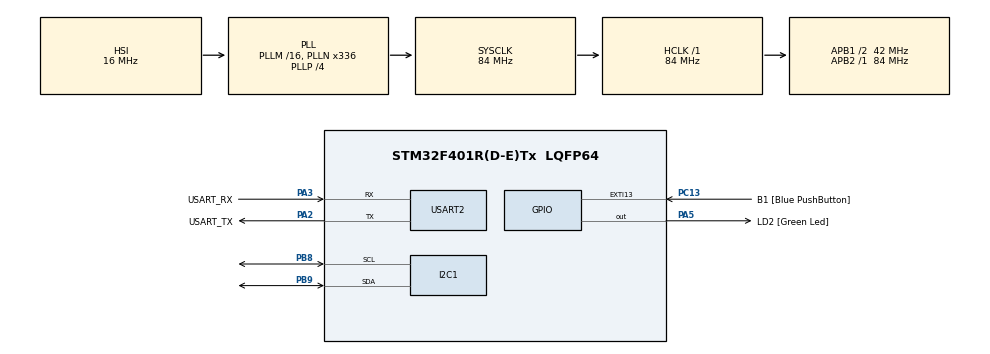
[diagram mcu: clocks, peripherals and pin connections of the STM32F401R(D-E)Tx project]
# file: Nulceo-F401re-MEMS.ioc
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Mcu.Family=STM32F4
Mcu.Name=STM32F401R(D-E)Tx
Mcu.Package=LQFP64
NVIC.PriorityGroup=NVIC_PRIORITYGROUP_0
PA13.GPIO_Label=TMS
PA13.Mode=Serial_Wire
PA13.Signal=SYS_JTMS-SWDIO
PA14.GPIO_Label=TCK
PA14.Mode=Serial_Wire
PA14.Signal=SYS_JTCK-SWCLK
PA2.GPIO_Label=USART_TX
PA2.GPIO_Mode=GPIO_MODE_AF_PP
PA2.GPIO_PuPd=GPIO_NOPULL
PA2.GPIO_Speed=GPIO_SPEED_FREQ_LOW
PA2.Mode=Asynchronous
PA2.Signal=USART2_TX
PA3.GPIO_Label=USART_RX
PA3.GPIO_Mode=GPIO_MODE_AF_PP
PA3.GPIO_PuPd=GPIO_NOPULL
PA3.GPIO_Speed=GPIO_SPEED_FREQ_LOW
PA3.Mode=Asynchronous
PA3.Signal=USART2_RX
PA5.GPIO_Label=LD2 [Green Led]
PA5.GPIO_Mode=GPIO_MODE_OUTPUT_PP
PA5.GPIO_PuPd=GPIO_NOPULL
PA5.GPIO_Speed=GPIO_SPEED_FREQ_LOW
PA5.Signal=GPIO_Output
PB3.GPIO_Label=SWO
PB3.Signal=SYS_JTDO-SWO
PB8.Mode=I2C
PB8.Signal=I2C1_SCL
PB9.Mode=I2C
PB9.Signal=I2C1_SDA
PC13-ANTI_TAMP.GPIO_Label=B1 [Blue PushButton]
PC13-ANTI_TAMP.GPIO_ModeDefaultEXTI=GPIO_MODE_IT_FALLING
PC13-ANTI_TAMP.GPIO_PuPd=GPIO_NOPULL
PC13-ANTI_TAMP.Signal=GPXTI13
PC14-OSC32_IN.Mode=LSE-External-Oscillator
PC14-OSC32_IN.Signal=RCC_OSC32_IN
PC15-OSC32_OUT.Mode=LSE-External-Oscillator
PC15-OSC32_OUT.Signal=RCC_OSC32_OUT
PH0\ -\ OSC_IN.Mode=HSE-External-Clock-Source
PH0\ -\ OSC_IN.Signal=RCC_OSC_IN
PH1\ -\ OSC_OUT.Mode=HSE-External-Clock-Source
PH1\ -\ OSC_OUT.Signal=RCC_OSC_OUT
ProjectManager.HeapSize=0x200
ProjectManager.StackSize=0x400
ProjectManager.TargetToolchain=STM32CubeIDE
RCC.48MHZClocksFreq_Value=48000000
RCC.AHBFreq_Value=84000000
RCC.APB1CLKDivider=RCC_HCLK_DIV2
RCC.APB1Freq_Value=42000000
RCC.APB1TimFreq_Value=84000000
RCC.APB2Freq_Value=84000000
RCC.APB2TimFreq_Value=84000000
RCC.CortexFreq_Value=84000000
RCC.HCLKFreq_Value=84000000
RCC.HSE_VALUE=8000000
RCC.HSI_VALUE=16000000
RCC.PLLN=336
RCC.PLLP=RCC_PLLP_DIV4
RCC.PLLQ=7
RCC.SYSCLKFreq_VALUE=84000000
RCC.SYSCLKSource=RCC_SYSCLKSOURCE_PLLCLK
RCC.VCOOutputFreq_Value=336000000
USART2.VirtualMode=VM_ASYNC
board=NUCLEO-F401RE

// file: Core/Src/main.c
/* USER CODE BEGIN Header */
/**
  ******************************************************************************
  * @file           : main.c
  * @brief          : Main program body
  ******************************************************************************
  * @attention
  *
  * Copyright (c) 2021 STMicroelectronics.
  * All rights reserved.
  *
  * This software is licensed under terms that can be found in the LICENSE file
  * in the root directory of this software component.
  * If no LICENSE file comes with this software, it is provided AS-IS.
  *
  ******************************************************************************
  */
/* USER CODE END Header */
#include "main.h"

/* USER CODE BEGIN Includes */
#include "string.h"
#include "stdio.h"
/* USER CODE END Includes */

I2C_HandleTypeDef hi2c1;

UART_HandleTypeDef huart2;

/* USER CODE BEGIN PV */
static const uint8_t HTS221_ADDR = 0x5F << 1;	//slave address
static const uint8_t REG_TEMP = 0x00;		// temperature register
/* USER CODE END PV */

void SystemClock_Config(void);
static void MX_GPIO_Init(void);
static void MX_USART2_UART_Init(void);
static void MX_I2C1_Init(void);

int main(void)
{
  /* USER CODE BEGIN 1 */
  HAL_StatusTypeDef ret;	// return value of communication, dont know what it means
  uint8_t buf[12];
  int16_t val;		// store row temperature from sensor
  float temp_c;
  /* USER CODE END 1 */

  /* MCU Configuration--------------------------------------------------------*/

  /* Reset of all peripherals, Initializes the Flash interface and the Systick. */
  HAL_Init();

  /* Configure the system clock */
  SystemClock_Config();

  /* Initialize all configured peripherals */
  MX_GPIO_Init();
  MX_USART2_UART_Init();
  MX_I2C1_Init();

  /* Infinite loop */
  /* USER CODE BEGIN WHILE */
  while (1)
  {
	 // Tell sensor master want to read from temperature register
	  buf[0] = REG_TEMP;
	  ret = HAL_I2C_Master_Transmit(&huart2, HTS221_ADDR, buf, 1, HAL_MAX_DELAY);	// send only one byte, blocking function
	  if( ret != HAL_OK ){
		  strcpy((char*)buf, "Error Tx\r\n");
	  }
	  else{
		  ret = HAL_I2C_Master_Transmit(&huart2, HTS221_ADDR, buf, 2, HAL_MAX_DELAY);	// read two bytes from temperature register
		  if(ret != HAL_OK ){
			  strcpy((char*)buf, "Error Rx\r\n");
		  }
		  else{
			  val = ((int16_t)but[0] << 4) | (buf[1] >> 4);		// combine the bytes
			  if ( val > 0x7FF ){
				  val |= 0xF000;
				  //....to show temperature
			  }
		  }
	  }

	  strcpy((char*)buf, "Hello!\r\n");
	  HAL_UART_Transmit(&huart2, buf, strlen((char*)buf), HAL_MAX_DELAY);
	  HAL_Delay(500);
	  /* USER CODE END WHILE */

  }
}

void SystemClock_Config(void)
{
  RCC_OscInitTypeDef RCC_OscInitStruct = {0};
  RCC_ClkInitTypeDef RCC_ClkInitStruct = {0};

  /** Configure the main internal regulator output voltage
  */
  __HAL_RCC_PWR_CLK_ENABLE();
  __HAL_PWR_VOLTAGESCALING_CONFIG(PWR_REGULATOR_VOLTAGE_SCALE2);
  /** Initializes the RCC Oscillators according to the specified parameters
  * in the RCC_OscInitTypeDef structure.
  */
  RCC_OscInitStruct.OscillatorType = RCC_OSCILLATORTYPE_HSI;
  RCC_OscInitStruct.HSIState = RCC_HSI_ON;
  RCC_OscInitStruct.HSICalibrationValue = RCC_HSICALIBRATION_DEFAULT;
  RCC_OscInitStruct.PLL.PLLState = RCC_PLL_ON;
  RCC_OscInitStruct.PLL.PLLSource = RCC_PLLSOURCE_HSI;
  RCC_OscInitStruct.PLL.PLLM = 16;
  RCC_OscInitStruct.PLL.PLLN = 336;
  RCC_OscInitStruct.PLL.PLLP = RCC_PLLP_DIV4;
  RCC_OscInitStruct.PLL.PLLQ = 7;
  if (HAL_RCC_OscConfig(&RCC_OscInitStruct) != HAL_OK)
  {
    Error_Handler();
  }
  /** Initializes the CPU, AHB and APB buses clocks
  */
  RCC_ClkInitStruct.ClockType = RCC_CLOCKTYPE_HCLK|RCC_CLOCKTYPE_SYSCLK
                              |RCC_CLOCKTYPE_PCLK1|RCC_CLOCKTYPE_PCLK2;
  RCC_ClkInitStruct.SYSCLKSource = RCC_SYSCLKSOURCE_PLLCLK;
  RCC_ClkInitStruct.AHBCLKDivider = RCC_SYSCLK_DIV1;
  RCC_ClkInitStruct.APB1CLKDivider = RCC_HCLK_DIV2;
  RCC_ClkInitStruct.APB2CLKDivider = RCC_HCLK_DIV1;

  if (HAL_RCC_ClockConfig(&RCC_ClkInitStruct, FLASH_LATENCY_2) != HAL_OK)
  {
    Error_Handler();
  }
}

static void MX_I2C1_Init(void)
{

  hi2c1.Instance = I2C1;
  hi2c1.Init.ClockSpeed = 100000;
  hi2c1.Init.DutyCycle = I2C_DUTYCYCLE_2;
  hi2c1.Init.OwnAddress1 = 0;
  hi2c1.Init.AddressingMode = I2C_ADDRESSINGMODE_7BIT;
  hi2c1.Init.DualAddressMode = I2C_DUALADDRESS_DISABLE;
  hi2c1.Init.OwnAddress2 = 0;
  hi2c1.Init.GeneralCallMode = I2C_GENERALCALL_DISABLE;
  hi2c1.Init.NoStretchMode = I2C_NOSTRETCH_DISABLE;
  if (HAL_I2C_Init(&hi2c1) != HAL_OK)
  {
    Error_Handler();
  }

}

static void MX_USART2_UART_Init(void)
{

  huart2.Instance = USART2;
  huart2.Init.BaudRate = 115200;
  huart2.Init.WordLength = UART_WORDLENGTH_8B;
  huart2.Init.StopBits = UART_STOPBITS_1;
  huart2.Init.Parity = UART_PARITY_NONE;
  huart2.Init.Mode = UART_MODE_TX_RX;
  huart2.Init.HwFlowCtl = UART_HWCONTROL_NONE;
  huart2.Init.OverSampling = UART_OVERSAMPLING_16;
  if (HAL_UART_Init(&huart2) != HAL_OK)
  {
    Error_Handler();
  }

}

static void MX_GPIO_Init(void)
{
  GPIO_InitTypeDef GPIO_InitStruct = {0};

  /* GPIO Ports Clock Enable */
  __HAL_RCC_GPIOC_CLK_ENABLE();
  __HAL_RCC_GPIOH_CLK_ENABLE();
  __HAL_RCC_GPIOA_CLK_ENABLE();
  __HAL_RCC_GPIOB_CLK_ENABLE();

  /*Configure GPIO pin Output Level */
  HAL_GPIO_WritePin(LD2_GPIO_Port, LD2_Pin, GPIO_PIN_RESET);

  /*Configure GPIO pin : B1_Pin */
  GPIO_InitStruct.Pin = B1_Pin;
  GPIO_InitStruct.Mode = GPIO_MODE_IT_FALLING;
  GPIO_InitStruct.Pull = GPIO_NOPULL;
  HAL_GPIO_Init(B1_GPIO_Port, &GPIO_InitStruct);

  /*Configure GPIO pin : LD2_Pin */
  GPIO_InitStruct.Pin = LD2_Pin;
  GPIO_InitStruct.Mode = GPIO_MODE_OUTPUT_PP;
  GPIO_InitStruct.Pull = GPIO_NOPULL;
  GPIO_InitStruct.Speed = GPIO_SPEED_FREQ_LOW;
  HAL_GPIO_Init(LD2_GPIO_Port, &GPIO_InitStruct);

}

void Error_Handler(void)
{
  __disable_irq();
  while (1)
  {
  }
}
